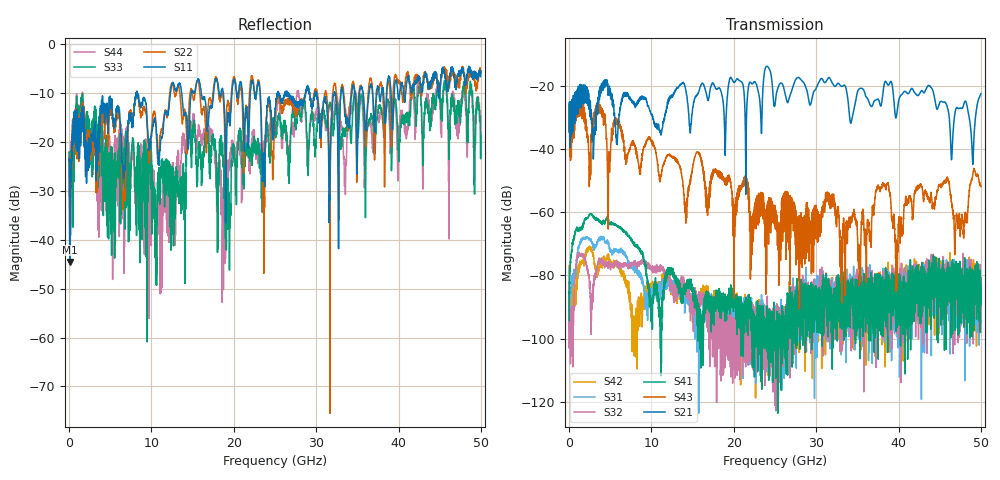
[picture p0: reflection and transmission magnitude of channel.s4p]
!Agilent Technologies,N5247A,US51170199,A.09.90.13
!Agilent N5247A: A.09.90.13
!Date: Wednesday, December 16, 2015 12:05:34
!Correction: S11(Full 4 Port(1,2,3,4))
!S12(Full 4 Port(1,2,3,4))
!S13(Full 4 Port(1,2,3,4))
!S14(Full 4 Port(1,2,3,4))
!S21(Full 4 Port(1,2,3,4))
!S22(Full 4 Port(1,2,3,4))
!S23(Full 4 Port(1,2,3,4))
!S24(Full 4 Port(1,2,3,4))
!S31(Full 4 Port(1,2,3,4))
!S32(Full 4 Port(1,2,3,4))
!S33(Full 4 Port(1,2,3,4))
!S34(Full 4 Port(1,2,3,4))
!S41(Full 4 Port(1,2,3,4))
!S42(Full 4 Port(1,2,3,4))
!S43(Full 4 Port(1,2,3,4))
!S44(Full 4 Port(1,2,3,4))
!S4P File: Measurements: <S11,S12,S13,S14>,
!<S21,S22,S23,S24>,
!<S31,S32,S33,S34>,
!<S41,S42,S43,S44>:
# Hz S  dB  R 50
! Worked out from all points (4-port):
!   3201 points, 10 MHz to 50 GHz, reference 50 ohm
!   strongest paths, dB at 10 MHz, 12.51 GHz, 25 GHz, 37.5 GHz, 50 GHz:
!     S21: -34.5, -23.5, -26.1, -24.2, -22.5
!     S43: -34.7, -42.7, -58.0, -52.0, -51.8
!     S41: -94.3, -78.1, -100.5, -89.4, -83.2
!     S32: -82.0, -85.2, -100.3, -81.2, -95.0
!     S31: -78.1, -83.9, -99.4, -100.9, -93.2
!     S42: -76.9, -82.9, -95.2, -102.5, -83.4
!   lowest |S11| = -44.5 dB at 88.11 MHz (marker M1), VSWR 1.01, Z = 50.4 + j0.482 ohm
!   |S11| at or under -10 dB: start of sweep to 8.126 GHz; 8.252 GHz to 12.29 GHz (4.042 GHz wide, 39.3 % of centre); 23.21 GHz to 25.35 GHz (2.141 GHz wide, 8.82 % of centre)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
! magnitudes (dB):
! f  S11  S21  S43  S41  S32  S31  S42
! 10 MHz  -23.8  -34.5  -34.7  -94.3  -82.0  -78.1  -76.9
! 88.11 MHz  -44.5  -39.6  -42.3  -81.8  -100.0  -89.0  -90.7
! 11.2 GHz  -19.1  -35.3  -48.6  -100.6  -76.9  -86.1  -83.2
! 15.09 GHz  -9.9  -26.0  -44.9  -85.0  -90.5  -94.9  -92.4
! 18.83 GHz  -12.1  -29.8  -49.4  -90.6  -94.8  -89.6  -94.2
! 35.24 GHz  -10.5  -21.0  -77.0  -82.3  -91.1  -83.9  -97.7
! 50 GHz  -5.6  -22.5  -51.8  -83.2  -95.0  -93.2  -83.4
